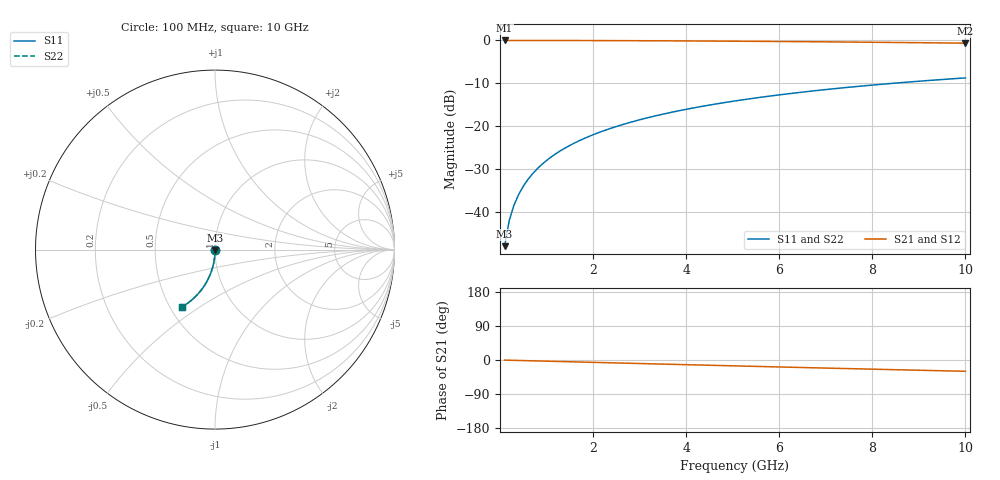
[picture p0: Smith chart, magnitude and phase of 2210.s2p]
# Hz S RI R 50.00
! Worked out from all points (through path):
!   100 points, 100 MHz to 10 GHz, reference 50 ohm
!   highest |S21| = 0.00 dB at 100 MHz (marker M1); lowest = -0.6 dB at 10 GHz (marker M2)
!   group delay of S21, straight-line fit = 8.3 ps
!   lowest |S11| = -47.9 dB at 100 MHz (marker M3), VSWR 1.01, Z = 50 - j0.4 ohm
!   |S11| at or under -10 dB: start of sweep to 8.427 GHz
!   |S22| runs from -47.9 to -8.7 dB; largest |S21 - S12| = 0
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1e8  0.00039 -0.004  0.9996 -0.00542  0.9996 -0.00542  0.00039 -0.004
2e8  0.000323 -0.008  0.9995 -0.0108  0.9995 -0.0108  0.000323 -0.008
3e8  0.000212 -0.012  0.9994 -0.0163  0.9994 -0.0163  0.000212 -0.012
4e8  5.73e-05 -0.016  0.9992 -0.0217  0.9992 -0.0217  5.73e-05 -0.016
5e8  -0.000141 -0.02  0.999 -0.0271  0.999 -0.0271  -0.000141 -0.02
6e8  -0.000383 -0.024  0.9987 -0.0325  0.9987 -0.0325  -0.000383 -0.024
7e8  -0.000668 -0.028  0.9984 -0.0379  0.9984 -0.0379  -0.000668 -0.028
8e8  -0.000996 -0.032  0.9981 -0.0433  0.9981 -0.0433  -0.000996 -0.032
9e8  -0.00137 -0.0359  0.9977 -0.0487  0.9977 -0.0487  -0.00137 -0.0359
1.1e9  -0.00224 -0.0439  0.9968 -0.0595  0.9968 -0.0595  -0.00224 -0.0439
1.4e9  -0.00387 -0.0558  0.9951 -0.0757  0.9951 -0.0757  -0.00387 -0.0558
1.8e9  -0.00664 -0.0715  0.9922 -0.0971  0.9922 -0.0971  -0.00664 -0.0715
2.1e9  -0.00915 -0.0832  0.9895 -0.113  0.9895 -0.113  -0.00915 -0.0832
2.5e9  -0.0131 -0.0986  0.9854 -0.1341  0.9854 -0.1341  -0.0131 -0.0986
2.9e9  -0.0177 -0.1137  0.9806 -0.155  0.9806 -0.155  -0.0177 -0.1137
3.4e9  -0.0243 -0.1324  0.9737 -0.1807  0.9737 -0.1807  -0.0243 -0.1324
4.2e9  -0.0368 -0.1612  0.9605 -0.221  0.9605 -0.221  -0.0368 -0.1612
5.1e9  -0.0536 -0.1919  0.9428 -0.2646  0.9428 -0.2646  -0.0536 -0.1919
5.9e9  -0.0707 -0.2174  0.9248 -0.3016  0.9248 -0.3016  -0.0707 -0.2174
6.7e9  -0.0896 -0.2412  0.9049 -0.3369  0.9049 -0.3369  -0.0896 -0.2412
8.4e9  -0.1347 -0.2851  0.857 -0.4054  0.857 -0.4054  -0.1347 -0.2851
1e10  -0.1817 -0.3178  0.8069 -0.4616  0.8069 -0.4616  -0.1817 -0.3178
